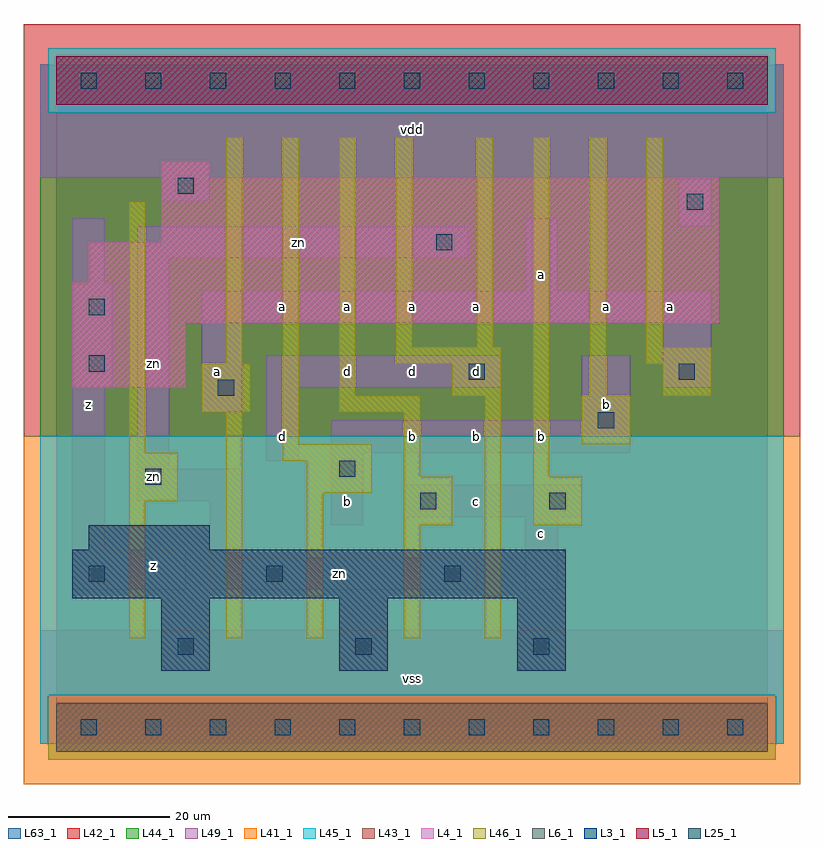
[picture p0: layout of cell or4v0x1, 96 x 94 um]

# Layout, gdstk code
import gdstk
lib = gdstk.Library(unit=1e-6, precision=1e-09)
def R(c, l, rs):  # rectangles x0, y0, x1, y1
    for r in rs: c.add(gdstk.rectangle(r[:2], r[2:], *l))
def A(c, l, x, y, w, h, nx, ny, dx, dy):  # array of equal rectangles
    R(c, l, [(x+i*dx, y+j*dy, x+i*dx+w, y+j*dy+h) for i in range(nx) for j in range(ny)])
L3_1 = (3, 1)
L4_1 = (4, 1)
L5_1 = (5, 1)
L6_1 = (6, 1)
L25_1 = (25, 1)
L41_1 = (41, 1)
L42_1 = (42, 1)
L43_1 = (43, 1)
L44_1 = (44, 1)
L45_1 = (45, 1)
L46_1 = (46, 1)
L49_1 = (49, 1)
L63_1 = (63, 1)

or4v0x1 = lib.new_cell('or4v0x1')
A(or4v0x1, L3_1, 13, 7, 6, 9, 3, 1, 22, 0)
R(or4v0x1, L3_1, [(2,16,63,22), (4,22,19,25)])
R(or4v0x1, L4_1, [(2,42,16,50), (2,50,82,55), (4,55,82,60), (13,60,82,68), (13,68,19,70)])
R(or4v0x1, L5_1, [(0,77,88,83)])
R(or4v0x1, L6_1, [(0,-3,88,3), (0,-3,88,3)])
A(or4v0x1, L25_1, 3, -1, 2, 2, 11, 2, 8, 80)
A(or4v0x1, L25_1, 15, 9, 2, 2, 3, 1, 22, 0)
A(or4v0x1, L25_1, 4, 18, 2, 2, 3, 1, 22, 0)
R(or4v0x1, L25_1, [(45,27,47,29), (61,27,63,29), (11,30,13,32), (35,31,37,33), (67,37,69,39), (20,41,22,43), (51,43,53,45), (77,43,79,45), (4,44,6,46), (4,51,6,53), (47,59,49,61), (78,64,80,66), (15,66,17,68)])
R(or4v0x1, L41_1, [(-4,-7,92,36)])
R(or4v0x1, L42_1, [(-4,36,92,87)])
A(or4v0x1, L43_1, 13, 7, 6, 9, 3, 1, 22, 0)
R(or4v0x1, L43_1, [(0,-3,88,3), (2,16,63,22), (4,22,19,25), (2,42,16,50), (2,50,82,55), (4,55,82,60), (13,60,82,68), (13,68,19,70), (0,77,88,83)])
R(or4v0x1, L44_1, [(-1,-4,89,4), (-2,36,90,76), (-2,76,-1,82), (89,76,90,82)])
R(or4v0x1, L45_1, [(-2,-2,-1,4), (89,-2,90,4), (-2,4,90,36), (-1,76,89,84)])
R(or4v0x1, L46_1, [(9,11,11,28), (21,11,23,39), (31,11,33,29), (43,11,45,25), (53,11,55,41), (43,25,49,31), (59,25,65,31), (9,28,15,34), (31,29,39,33), (43,31,45,39), (59,31,61,73), (28,33,39,35), (9,34,11,65), (28,35,30,73), (65,35,71,41), (18,39,24,45), (35,39,45,41), (35,41,37,73), (49,41,55,45), (66,41,68,73), (75,41,81,45), (21,45,23,73), (42,45,55,47), (73,45,81,47), (42,47,44,73), (52,47,54,73), (73,47,75,73)])
R(or4v0x1, L49_1, [(-2,-2,90,12), (2,17,16,22), (19,17,52,21), (58,17,62,26), (19,21,23,28), (2,22,6,42), (34,25,38,34), (43,26,65,30), (10,28,23,32), (10,32,14,58), (26,33,30,42), (34,34,71,38), (65,38,71,46), (18,39,23,50), (2,42,7,55), (26,42,55,46), (75,42,81,50), (18,50,81,54), (58,54,62,63), (2,55,6,63), (10,58,51,62), (77,62,81,68), (13,65,19,68), (-2,68,90,82)])
R(or4v0x1, L63_1, [(0,0,88,80)])
or4v0x1.add(gdstk.Label('zn', (12,31), layer=49, texttype=1))
or4v0x1.add(gdstk.Label('z', (12,20), layer=49, texttype=1))
or4v0x1.add(gdstk.Label('z', (4,40), layer=49, texttype=1))
or4v0x1.add(gdstk.Label('zn', (12,45), layer=49, texttype=1))
or4v0x1.add(gdstk.Label('a', (20,44), layer=49, texttype=1))
or4v0x1.add(gdstk.Label('d', (28,36), layer=49, texttype=1))
or4v0x1.add(gdstk.Label('a', (28,52), layer=49, texttype=1))
or4v0x1.add(gdstk.Label('vss', (44,6), layer=49, texttype=1))
or4v0x1.add(gdstk.Label('b', (36,28), layer=49, texttype=1))
or4v0x1.add(gdstk.Label('zn', (35,19), layer=49, texttype=1))
or4v0x1.add(gdstk.Label('d', (36,44), layer=49, texttype=1))
or4v0x1.add(gdstk.Label('b', (44,36), layer=49, texttype=1))
or4v0x1.add(gdstk.Label('d', (44,44), layer=49, texttype=1))
or4v0x1.add(gdstk.Label('a', (44,52), layer=49, texttype=1))
or4v0x1.add(gdstk.Label('a', (36,52), layer=49, texttype=1))
or4v0x1.add(gdstk.Label('zn', (30,60), layer=49, texttype=1))
or4v0x1.add(gdstk.Label('vdd', (44,74), layer=49, texttype=1))
or4v0x1.add(gdstk.Label('c', (52,28), layer=49, texttype=1))
or4v0x1.add(gdstk.Label('c', (60,24), layer=49, texttype=1))
or4v0x1.add(gdstk.Label('b', (52,36), layer=49, texttype=1))
or4v0x1.add(gdstk.Label('d', (52,44), layer=49, texttype=1))
or4v0x1.add(gdstk.Label('b', (60,36), layer=49, texttype=1))
or4v0x1.add(gdstk.Label('b', (68,40), layer=49, texttype=1))
or4v0x1.add(gdstk.Label('a', (68,52), layer=49, texttype=1))
or4v0x1.add(gdstk.Label('a', (52,52), layer=49, texttype=1))
or4v0x1.add(gdstk.Label('a', (60,56), layer=49, texttype=1))
or4v0x1.add(gdstk.Label('a', (76,52), layer=49, texttype=1))

lib.write_gds('or4v0x1.gds')
